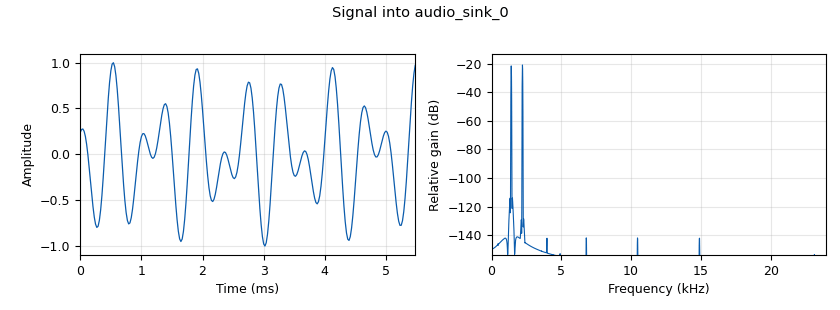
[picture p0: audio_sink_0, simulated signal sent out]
options:
  parameters:
    author: anes
    generate_options: hb_qt_gui
    id: untitled3
    output_language: python
    title: Not titled yet
  states: {}

blocks:
- name: samp_rate
  id: variable
  parameters:
    value: '32000'
  states: {}
- name: analog_sig_source_x_0
  id: analog_sig_source_x
  parameters:
    amp: '0.5'
    freq: '1477'
    offset: '0'
    phase: '0'
    samp_rate: samp_rate
    type: float
    waveform: analog.GR_SIN_WAVE
  states: {}
- name: analog_sig_source_x_0_0
  id: analog_sig_source_x
  parameters:
    amp: '0.5'
    freq: '941'
    offset: '0'
    phase: '0'
    samp_rate: samp_rate
    type: float
    waveform: analog.GR_SIN_WAVE
  states: {}
- name: analog_sig_source_x_0_0_0
  id: analog_sig_source_x
  parameters:
    amp: '0.5'
    freq: '941'
    offset: '0'
    phase: '0'
    samp_rate: samp_rate
    type: float
    waveform: analog.GR_SIN_WAVE
  states: {state: disabled}
- name: analog_sig_source_x_0_1
  id: analog_sig_source_x
  parameters:
    amp: '0.5'
    freq: '1477'
    offset: '0'
    phase: '0'
    samp_rate: samp_rate
    type: float
    waveform: analog.GR_SIN_WAVE
  states: {state: disabled}
- name: audio_sink_0
  id: audio_sink
  parameters:
    samp_rate: '48000'
  states: {}
- name: audio_sink_0_0
  id: audio_sink
  parameters:
    num_inputs: '2'
    samp_rate: '48000'
  states: {state: disabled}
- name: blocks_add_xx_0
  id: blocks_add_xx
  parameters:
    type: float
  states: {}

connections:
- [analog_sig_source_x_0, '0', blocks_add_xx_0, '1']
- [analog_sig_source_x_0_0, '0', blocks_add_xx_0, '0']
- [analog_sig_source_x_0_0_0, '0', audio_sink_0_0, '0']
- [analog_sig_source_x_0_1, '0', audio_sink_0_0, '1']
- [blocks_add_xx_0, '0', audio_sink_0, '0']

metadata:
  file_format: 1
  grc_version: 3.10.9.2
